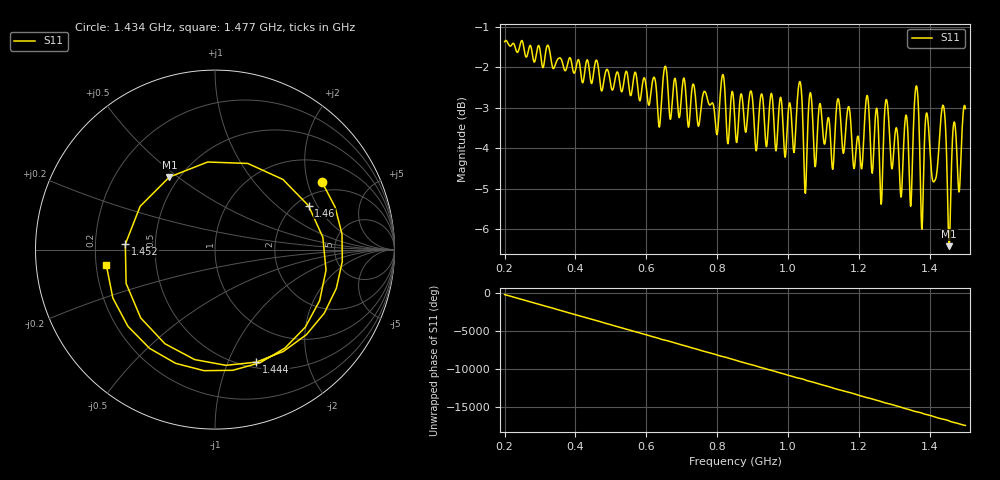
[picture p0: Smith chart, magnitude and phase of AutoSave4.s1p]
!Agilent N9923A: A.05.17
!Date: Sunday, 01 January 2006 12:26:28
!Model: N9923A
!Serial: MY50371189
!CHECKSUM:2041499142
!Correction: S11(ON U)
!S1P File: Measurement: S11:
# Hz S RI R 50
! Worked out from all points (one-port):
!   1001 points, 200 MHz to 1.5 GHz, reference 50 ohm
!   lowest |S11| = -6.4 dB at 1.454 GHz (marker M1), VSWR 2.83, Z = 22.2 + j23.3 ohm
!   |S11| at or under -10 dB: nowhere
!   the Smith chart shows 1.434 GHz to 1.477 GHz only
!   S11 on the Smith chart (normalised r, x): 1.434 GHz: 1.66, +2.47; 1.444 GHz: 0.56, -1.27; 1.452 GHz: 0.33, +0.03; 1.46 GHz: 2.31, +1.69; 1.477 GHz: 0.24, -0.07
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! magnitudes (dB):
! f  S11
! 200 MHz  -1.4
! 362.5 MHz  -1.9
! 525 MHz  -2.4
! 687.5 MHz  -2.8
! 850 MHz  -3.4
! 1.012 GHz  -3.7
! 1.032 GHz  -2.4
! 1.049 GHz  -5.1
! 1.062 GHz  -2.6
! 1.076 GHz  -4.5
! 1.175 GHz  -3.2
! 1.206 GHz  -4.5
! 1.223 GHz  -2.7
! 1.262 GHz  -5.4
! 1.278 GHz  -2.8
! 1.337 GHz  -3.6
! 1.347 GHz  -5.4
! 1.362 GHz  -2.5
! 1.378 GHz  -6.0
! 1.391 GHz  -3.1
! 1.413 GHz  -4.8
! 1.434 GHz  -3.0
! 1.444 GHz  -3.5
! 1.452 GHz  -6.0
! 1.454 GHz  -6.4
! 1.46 GHz  -4.8
! 1.477 GHz  -4.3
! 1.5 GHz  -3.0
